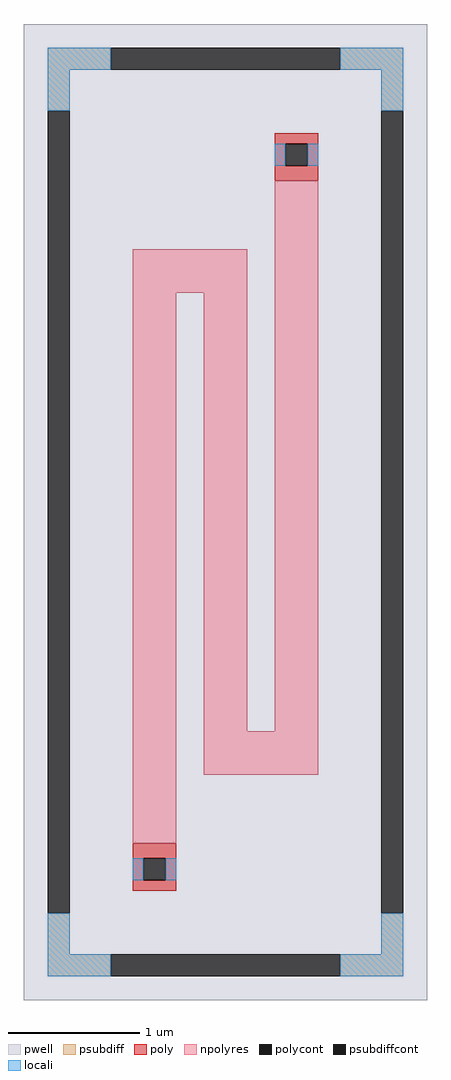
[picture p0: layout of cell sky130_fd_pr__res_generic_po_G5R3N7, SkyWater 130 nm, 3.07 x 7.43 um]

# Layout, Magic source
magic
tech sky130B
magscale 1 2
<< pwell >>
rect -307 -743 307 743
<< psubdiff >>
rect -271 673 -175 707
rect 175 673 271 707
rect -271 611 -237 673
rect 237 611 271 673
rect -271 -673 -237 -611
rect 237 -673 271 -611
rect -271 -707 -175 -673
rect 175 -707 271 -673
<< psubdiffcont >>
rect -175 673 175 707
rect -271 -611 -237 611
rect 237 -611 271 611
rect -175 -707 175 -673
<< poly >>
rect 75 561 141 577
rect 75 527 91 561
rect 125 527 141 561
rect 75 504 141 527
rect -141 -527 -75 -504
rect -141 -561 -125 -527
rect -91 -561 -75 -527
rect -141 -577 -75 -561
<< polycont >>
rect 91 527 125 561
rect -125 -561 -91 -527
<< npolyres >>
rect -141 334 33 400
rect -141 -504 -75 334
rect -33 -334 33 334
rect 75 -334 141 504
rect -33 -400 141 -334
<< locali >>
rect -271 673 -175 707
rect 175 673 271 707
rect -271 611 -237 673
rect 237 611 271 673
rect 75 527 91 561
rect 125 527 141 561
rect -141 -561 -125 -527
rect -91 -561 -75 -527
rect -271 -673 -237 -611
rect 237 -673 271 -611
rect -271 -707 -175 -673
rect 175 -707 271 -673
<< properties >>
string FIXED_BBOX -254 -690 254 690
string gencell sky130_fd_pr__res_generic_po
string library sky130
string parameters w 0.33 l 4 m 1 nx 3 wmin 0.330 lmin 1.650 rho 48.2 val 1.965k dummy 0 dw 0.0 term 0.0 sterm 0.0 caplen 0.4 snake 1 guard 1 glc 1 grc 1 gtc 1 gbc 1 roverlap 0 endcov 100 full_metal 1 hv_guard 0 n_guard 0 vias 1 viagb 0 viagt 0 viagl 0 viagr 0
<< end >>
